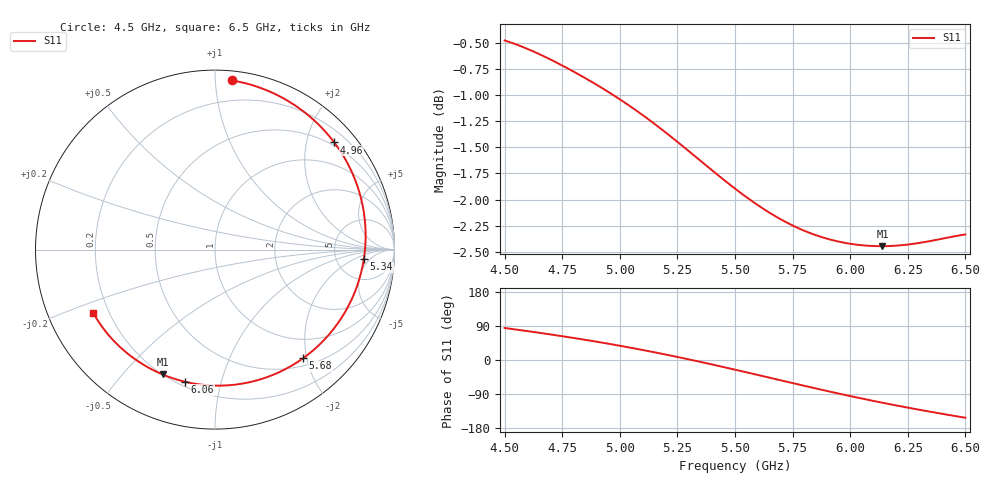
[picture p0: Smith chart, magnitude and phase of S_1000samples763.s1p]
! TOUCHSTONE file generated by CST MICROWAVE STUDIO
! Date and time: Sat Oct 29 07:22:14 2022
! Project name: L.cst
! Parameters = {Di=1.27; Epsilon_r=1.56; InnerDiameter=1.27; Length=2; Lf=10; Lg=60; OuterConductorThickness=0.2921; OuterDiameter=3.6; Wf=3; Wp=41.2; de=1.5; df=6.8; g=0.8; gx=3.54073; gy=2.14704; h=2.34; hf=1.524; px=10.7271; py=9.40642; w=9.7; wx=7.1864; wy=7.25938}
! Header version: 2018
! Port assignment regex: !\s*Touchstone port\s*([0-9]+)\s*=\s*(CST MWS port|CST DS port)\s*([0-9]+|Zmin|Zmax)\s*\(\"(.*)\"\)(\s*mode\s*([0-9]+))?.*
! Touchstone port assignment:
! Touchstone port 1 = CST MWS port 1 ("")
# GHz S DB R 50
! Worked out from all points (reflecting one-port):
!   101 points, 4.5 GHz to 6.5 GHz, reference 50 ohm
!   lowest |S11| = -2.4 dB at 6.14 GHz (marker M1), VSWR 7.14, Z = 10 - j32.3 ohm
!   phase of S11 starts at 84 deg and turns -237 deg over the sweep
!   S11 on the Smith chart (normalised r, x): 4.5 GHz: 0.06, +1.10; 4.96 GHz: 0.43, +2.55; 5.34 GHz: 10, -3; 5.68 GHz: 0.63, -1.93; 6.06 GHz: 0.23, -0.77; 6.5 GHz: 0.14, -0.24
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4.5  -0.47 84.4
4.58  -0.54 77.8
4.64  -0.59 72.7
4.7  -0.66 67.4
4.76  -0.72 61.9
4.86  -0.85 52.2
4.96  -0.98 41.9
5  -1.04 37.6
5.08  -1.16 28.6
5.14  -1.26 21.6
5.2  -1.36 14.3
5.26  -1.46 6.7
5.34  -1.61 -3.7
5.42  -1.75 -14.5
5.5  -1.89 -25.5
5.58  -2.02 -36.8
5.68  -2.17 -51.0
5.76  -2.26 -62.3
5.82  -2.32 -70.8
5.88  -2.36 -79.1
5.94  -2.40 -87.2
6  -2.42 -95.1
6.06  -2.44 -102.9
6.14  -2.45 -112.8
6.26  -2.43 -126.8
6.38  -2.38 -140.0
6.44  -2.36 -146.3
6.5  -2.34 -152.4
